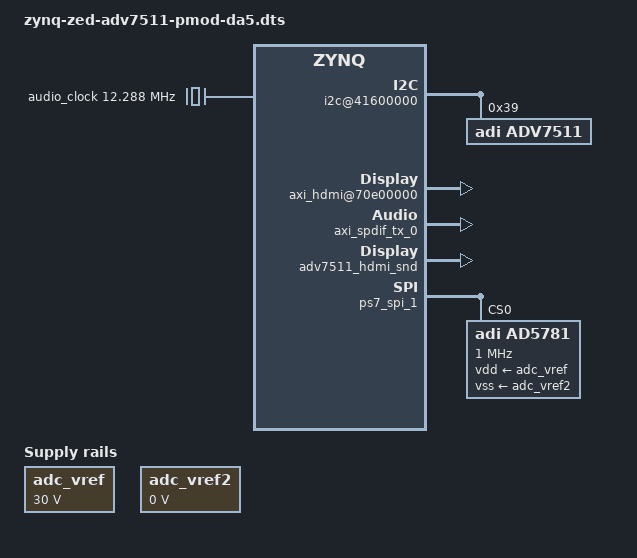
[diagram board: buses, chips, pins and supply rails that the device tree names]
/dts-v1/;

/include/ "zynq-zed.dtsi"

/ {
	fpga_axi: fpga-axi@0 {
		compatible = "simple-bus";
		#address-cells = <0x1>;
		#size-cells = <0x1>;
		ranges;

		i2c@41600000 {
			compatible = "xlnx,axi-iic-1.01.b", "xlnx,xps-iic-2.00.a";
			interrupt-parent = <&gic>;
			interrupts = <0 58 0x4>;
			reg = <0x41600000 0x10000>;

			#size-cells = <0>;
			#address-cells = <1>;

			adv7511: adv7511@39 {
				compatible = "adi,adv7511";
				reg = <0x39>;

				adi,input-style = <0x02>;
				adi,input-id = <0x01>;
				adi,input-color-depth = <0x3>;
				adi,sync-pulse = <0x03>;
				adi,bit-justification = <0x01>;
				adi,up-conversion = <0x00>;
				adi,timing-generation-sequence = <0x00>;
				adi,vsync-polarity = <0x02>;
				adi,hsync-polarity = <0x02>;
				adi,tdms-clock-inversion;
				adi,clock-delay = <0x03>;
			};
		};

		axi_vdma_0: axivdma@43000000 {
			#address-cells = <1>;
			#size-cells = <1>;
			#dma-cells = <1>;
			compatible = "xlnx,axi-vdma";
			reg = <0x43000000 0x1000>;
			xlnx,include-sg = <0x0>;
			xlnx,num-fstores = <0x3>;
			dma-channel@7e200000 {
				compatible = "xlnx,axi-vdma-mm2s-channel";
				interrupts = <0 59 0x4>;
				xlnx,datawidth = <0x40>;
				xlnx,genlock-mode = <0x0>;
				xlnx,include-dre = <0x0>;
			};
		};

		hdmi_clock: axi-clkgen@79000000 {
			compatible = "adi,axi-clkgen-1.00.a";
			reg = <0x79000000 0x10000>;
			#clock-cells = <0>;
			clocks = <&clkc 17>;
		};

		axi_hdmi@70e00000 {
			compatible = "adi,axi-hdmi-1.00.a";
			reg = <0x70e00000 0x10000>;
			encoder-slave = <&adv7511>;
			dmas = <&axi_vdma_0 0>;
			dma-names = "video";
			clocks = <&hdmi_clock>;
		};

		audio_clock: audio_clock {
			compatible = "fixed-clock";
			#clock-cells = <0>;
			clock-frequency = <12288000>;
		};

		axi_spdif_tx_0: axi-spdif-tx@0x75c00000 {
			compatible = "adi,axi-spdif-tx-1.00.a";
			reg = <0x75c00000 0x1000>;
			dmas = <&ps7_dma 0>;
			dma-names = "tx";
			clocks = <&clkc 15 &audio_clock>;
			clock-names = "axi", "spdif";
		};

		adv7511_hdmi_snd: adv7511_hdmi_snd {
			compatible = "adv7511-hdmi-snd";
			audio-codec = <&adv7511>;
			cpu-dai = <&axi_spdif_tx_0>;
		};

		adc_vref: fixedregulator@0 {
			compatible = "regulator-fixed";
			regulator-name = "fixed-supply";
			regulator-min-microvolt = <30000000>;
			regulator-max-microvolt = <30000000>;
			regulator-boot-on;
		};
		
		adc_vref2: fixedregulator@10 {
			compatible = "regulator-fixed";
			regulator-name = "fixed-supply";
			regulator-min-microvolt = <0000001>;
			regulator-max-microvolt = <0000001>;
			regulator-boot-on;
		};		

		ps7_spi_1: ps7-spi@e0007000 {
			bus-num = <2>;
			compatible = "xlnx,ps7-spi-1.00.a";
			interrupt-parent = <&gic>;
			interrupts = < 0 49 4 >;
			clock-names = "ref_clk", "aper_clk";
			clocks = <&clkc 26>, <&clkc 35>;
			num-chip-select = <4>;
			reg = < 0xe0007000 0x1000 >;
			speed-hz = <100000000>;
			xlnx,has-ss0 = <0x1>;
			xlnx,has-ss1 = <0x1>;
			xlnx,has-ss2 = <0x1>;
			xlnx,spi-clk-freq-hz = <100000000>; 
			#address-cells = <1>;
			#size-cells = <0>;
			ad5781@0 { 
				compatible = "adi,ad5781";
				reg = <0>; 
				spi-max-frequency = <1000000>;
				vdd-supply = <&adc_vref>;
				vss-supply = <&adc_vref2>; 
			};
		};

		trigger: trigger@0 {
			compatible = "iio-trigger-hrtimer";
		};
	};
};
